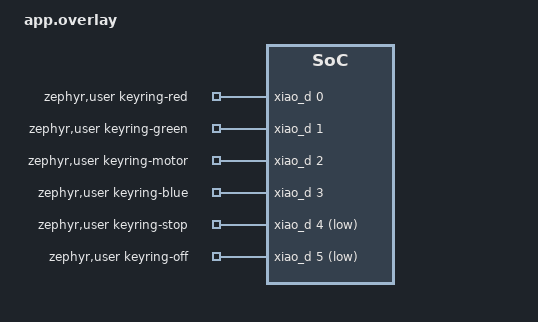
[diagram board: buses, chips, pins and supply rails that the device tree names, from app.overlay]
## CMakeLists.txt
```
cmake_minimum_required(VERSION 3.20.0)
option(KR_CARRIER_D31 "Use the SIS D3.1 Y3 pin and motor power policy" ON)
if(KR_CARRIER_D31)
  list(APPEND EXTRA_DTC_OVERLAY_FILE "${CMAKE_CURRENT_SOURCE_DIR}/boards/carrier-d31.overlay")
  set(KR_CARRIER_VERSION "d31")
else()
  set(KR_CARRIER_VERSION "revg")
endif()
find_package(Zephyr 4.2.0 REQUIRED HINTS $ENV{ZEPHYR_BASE})
project(tingle_keyring C)
option(KR_DIAG_INTERACTIVE_BOOT "Pause boot stages for USB hardware diagnostics" OFF)
option(KR_STORAGE_INSPECT_ONLY "Read flash metadata without mounting or writing NVS" OFF)
target_include_directories(app PRIVATE include vendor/monocypher)
target_sources(app PRIVATE
  src/main.c src/codec.c src/engine.c src/phone.c src/storage.c
  src/nus.c src/board.c src/proof.c src/settings_auth.c src/settings_storage.c
  src/hash.c src/json.c src/request.c src/frame.c src/reset.c src/profile.c
  src/matching.c src/peer.c src/peer_auth.c src/policy.c src/product.c src/battery.c src/service.c
  src/carrier.c src/feedback.c src/power.c src/flash_guard.c src/record_restore.c src/diagnostics.c
  vendor/monocypher/monocypher.c vendor/monocypher/monocypher-ed25519.c)
file(STRINGS "${CMAKE_CURRENT_SOURCE_DIR}/config/dev-settings-public-key.hex" default_dev_key LIMIT_COUNT 1)
set(KR_DEV_SETTINGS_PUBLIC_KEY "${default_dev_key}" CACHE STRING "Pinned development Ed25519 public key (raw hex)")
# 서버 서명 공개키(64자리 소문자 hex)는 필수다. 비어 있거나 형식이 다르면 구성 단계에서 실패한다.
string(LENGTH "${KR_DEV_SETTINGS_PUBLIC_KEY}" key_length)
if(NOT key_length EQUAL 64 OR NOT KR_DEV_SETTINGS_PUBLIC_KEY MATCHES "^[0-9a-f]+$")
  message(FATAL_ERROR "KR_DEV_SETTINGS_PUBLIC_KEY must be 64 lowercase hex characters")
endif()
string(SUBSTRING "${KR_DEV_SETTINGS_PUBLIC_KEY}" 0 16 key_prefix)
target_compile_definitions(app PRIVATE
  KR_FIRMWARE_VERSION="0.9.14-${KR_CARRIER_VERSION}"
  KR_DEV_SERVER_KEY_HEX="${KR_DEV_SETTINGS_PUBLIC_KEY}"
  KR_DEV_SERVER_KEY_ID="dev-ed25519-${key_prefix}")
target_compile_options(app PRIVATE -Wall -Wextra -Werror -fstack-usage)
if(KR_DIAG_INTERACTIVE_BOOT)
  target_compile_definitions(app PRIVATE KR_DIAG_INTERACTIVE_BOOT=1)
endif()
if(KR_STORAGE_INSPECT_ONLY)
  target_sources(app PRIVATE src/storage_inspect.c)
  target_compile_definitions(app PRIVATE KR_STORAGE_INSPECT_ONLY=1)
endif()
```

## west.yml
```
manifest:
  remotes:
    - name: zephyrproject
      url-base: https://github.com/zephyrproject-rtos
  projects:
    - name: zephyr
      remote: zephyrproject
      revision: v4.2.0
      import:
        name-allowlist:
          - cmsis
          - cmsis_6
          - hal_nordic
          - segger
          - tinycrypt
          - mbedtls
  self:
    path: iot
```

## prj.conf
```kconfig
CONFIG_BT=y
CONFIG_BT_PERIPHERAL=y
CONFIG_BT_OBSERVER=y
CONFIG_BT_BROADCASTER=y
CONFIG_BT_DEVICE_NAME="Tingle-Keyring"
CONFIG_BT_MAX_CONN=1
CONFIG_BT_SMP=y
CONFIG_BT_SETTINGS=y
CONFIG_BT_MAX_PAIRED=4
CONFIG_SETTINGS=y
CONFIG_BT_EXT_ADV=y
CONFIG_BT_EXT_ADV_MAX_ADV_SET=2
CONFIG_BT_CTLR_ADVANCED_FEATURES=y
CONFIG_BT_CTLR_ADV_DATA_CHAIN=y
CONFIG_BT_CTLR_ADV_DATA_LEN_MAX=1650
CONFIG_BT_CTLR_ADV_DATA_BUF_MAX=4
CONFIG_BT_EXT_SCAN_BUF_SIZE=1650
CONFIG_BT_CTLR_SCAN_DATA_LEN_MAX=1650
CONFIG_BT_BUF_EVT_RX_COUNT=16
CONFIG_BT_CTLR_RX_BUFFERS=9
CONFIG_BT_CTLR_SCAN_AUX_SET=3
CONFIG_BT_RX_STACK_SIZE=4096
# ECC key generation calls CTR-DRBG initialization on the Bluetooth long workqueue.
# The default 1400-byte stack cannot hold its nested seed/derivation buffers.
CONFIG_BT_LONG_WQ_STACK_SIZE=4096
CONFIG_SYSTEM_WORKQUEUE_STACK_SIZE=4096
CONFIG_MAIN_STACK_SIZE=12288
CONFIG_HEAP_MEM_POOL_SIZE=8192
# PSA/Mbed TLS uses libc calloc, separate from the kernel heap above.
CONFIG_COMMON_LIBC_MALLOC_ARENA_SIZE=16384
CONFIG_FLASH=y
CONFIG_FLASH_MAP=y
CONFIG_FLASH_PAGE_LAYOUT=y
# NVS uses 4 KiB erase sectors; the QSPI driver's default layout is 64 KiB.
CONFIG_NORDIC_QSPI_NOR_FLASH_LAYOUT_PAGE_SIZE=4096
CONFIG_NVS=y
CONFIG_NVS_DATA_CRC=y
CONFIG_SETTINGS_NVS=y
CONFIG_HWINFO=y
CONFIG_ENTROPY_GENERATOR=y
CONFIG_CTR_DRBG_CSPRNG_GENERATOR=y
CONFIG_MBEDTLS_SHA256=y
CONFIG_GPIO=y
CONFIG_POWEROFF=y
CONFIG_REBOOT=y
CONFIG_PM_DEVICE=y
CONFIG_ADC=y
CONFIG_SERIAL=y
CONFIG_CONSOLE=y
CONFIG_UART_CONSOLE=y
CONFIG_UART_LINE_CTRL=y
CONFIG_USB_DEVICE_STACK=y
CONFIG_USB_DEVICE_INITIALIZE_AT_BOOT=y
CONFIG_USB_DEVICE_PRODUCT="Tingle Unified Keyring"
CONFIG_LOG=y
CONFIG_LOG_DEFAULT_LEVEL=3
CONFIG_ASSERT=y
```

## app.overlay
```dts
#include <zephyr/dt-bindings/gpio/gpio.h>

/ {
	zephyr,user {
		/* Shared GPIOs: common-cathode RGB, motor input and SW2 to GND. */
		keyring-red-gpios = <&xiao_d 0 GPIO_ACTIVE_HIGH>;
		keyring-green-gpios = <&xiao_d 1 GPIO_ACTIVE_HIGH>;
		keyring-motor-gpios = <&xiao_d 2 GPIO_ACTIVE_HIGH>;
		keyring-blue-gpios = <&xiao_d 3 GPIO_ACTIVE_HIGH>;
		keyring-stop-gpios = <&xiao_d 4 (GPIO_ACTIVE_LOW | GPIO_PULL_UP)>;
		/* Rev G only: SW1 shorts D5 to ground in OFF. R13 supplies the pull-up. */
		keyring-off-gpios = <&xiao_d 5 GPIO_ACTIVE_LOW>;
	};
};

/* Keep the stock UF2 bootloader/code/internal settings partitions unchanged. */
&p25q16h {
	/* Bring up USB diagnostics before probing the external flash chip. */
	zephyr,deferred-init;
	partitions {
		compatible = "fixed-partitions";
		#address-cells = <1>;
		#size-cells = <1>;
		keyring_store: partition@0 {
			label = "keyring-store";
			reg = <0x00000000 0x00040000>;
		};
		/* Same offsets as the installed registration build. */
		registration_store: partition@40000 {
			label = "registration-store";
			reg = <0x00040000 0x00020000>;
		};
	};
};
```

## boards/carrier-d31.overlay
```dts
&{/zephyr,user} {
	/* Y3 SW1 switches BAT_SW. The board does not connect SW1 to D5. */
	/delete-property/ keyring-off-gpios;
};
```

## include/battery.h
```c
#ifndef TINGLE_BATTERY_H
#define TINGLE_BATTERY_H
#include "registration.h"
struct kr_battery_reading { int percent; const char *source, *presence, *power; };
struct kr_battery_reading kr_battery_reading(struct kr_status status);

enum kr_charge_level { KR_CHARGE_OFF, KR_CHARGE_LOW, KR_CHARGE_MID, KR_CHARGE_HIGH };
uint8_t kr_charge_indicator_rgb(enum kr_charge_level level);
uint8_t kr_status_led_rgb(enum kr_charge_level level, bool usb, bool error, bool diagnostic);
struct kr_charge_indicator {
	enum kr_charge_level level, candidate;
	unsigned samples;
};
enum kr_charge_level kr_charge_indicator_update(struct kr_charge_indicator *, struct kr_status);
#endif
```

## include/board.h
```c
#ifndef TINGLE_REGISTRATION_BOARD_H
#define TINGLE_REGISTRATION_BOARD_H
#include "registration.h"
#include "battery.h"
#include <zephyr/bluetooth/addr.h>
int kr_board_open(struct kr_core *core);
int kr_board_forget_phone_bond(const bt_addr_le_t *address);
int kr_board_charge_init(void);
int kr_board_power_init(void);
void kr_board_cancel_charge_notice(void);
void kr_board_start_charge_notice(void);
bool kr_board_usb_present(void);
struct kr_status kr_board_status(void);
void kr_board_led(bool active);
int kr_board_led_ready(bool error);
void kr_board_led_error(bool error);
void kr_board_charge_led(enum kr_charge_level level, bool usb);
void kr_board_led_off(void);
void kr_board_print_identity(const struct kr_identity *identity);
int kr_board_storage_check(void);
#endif
```

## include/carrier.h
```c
#ifndef TINGLE_CARRIER_H
#define TINGLE_CARRIER_H

#include "feedback.h"

int kr_carrier_init(void);
bool kr_carrier_off_requested(void);
void kr_carrier_enter_off(void);
void kr_carrier_shutdown(void);
bool kr_carrier_poll_charge(void);
bool kr_carrier_feedback_start(struct kr_feedback_options options);
void kr_carrier_feedback_stop(void);

#endif
```

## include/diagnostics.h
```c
#ifndef TINGLE_DIAGNOSTICS_H
#define TINGLE_DIAGNOSTICS_H
#include "keyring.h"
#include "peer.h"

/* Volatile, public metadata only. Never written to NVS or sent over BLE. */
#define KR_DIAG_LINE_BYTES 640
enum kr_diag_command { KR_DIAG_NONE, KR_DIAG_STATUS, KR_DIAG_RECORDS, KR_DIAG_INVALID };
enum kr_diag_effect { KR_DIAG_UNKNOWN_PEER, KR_DIAG_SAME_SCOPE, KR_DIAG_INPUT_CHANGED,
	KR_DIAG_OWNER_CHANGED, KR_DIAG_RETIRED, KR_DIAG_DUPLICATE_REF, KR_DIAG_QUARANTINED,
	KR_DIAG_UNKNOWN_SCOPE, KR_DIAG_ERROR_KEY };
enum kr_diag_gate {
	KR_DIAG_NO_OWNER = 1u << 0, KR_DIAG_RESET = 1u << 1, KR_DIAG_STORAGE = 1u << 2,
	KR_DIAG_RECOVERY = 1u << 3, KR_DIAG_NO_POLICY = 1u << 4, KR_DIAG_NOT_APPLIED = 1u << 5,
	KR_DIAG_NO_TIME = 1u << 6, KR_DIAG_INCOMPLETE = 1u << 7, KR_DIAG_DISABLED = 1u << 8,
	KR_DIAG_OFF = 1u << 9, KR_DIAG_EXPIRED = 1u << 10, KR_DIAG_PEER_INACTIVE = 1u << 11,
	KR_DIAG_PEER_UNREADY = 1u << 12, KR_DIAG_QUARANTINE = 1u << 13,
	KR_DIAG_ACCOUNT_LOCK = 1u << 14, KR_DIAG_ENGINE_UNREADY = 1u << 15,
};
struct kr_diag_row {
	uint64_t peer, epoch;
	uint32_t own_revision, peer_revision;
	uint8_t slot, kind, phase, reason, effect, flags;
};
#define KR_DIAG_LEDGER 1u
#define KR_DIAG_SCOPE_KNOWN 2u
#define KR_DIAG_ACCOUNT_KNOWN 4u
#define KR_DIAG_FEEDBACK_CLAIMED 8u
struct kr_diag_inputs {
	uint32_t sequence;
	/* Recomputed from frozen inputs, never presented as a new match. -1 = unavailable. */
	int16_t eligibility, score_ab, score_ba, coverage_ab, coverage_ba;
	uint8_t strict_ab, strict_ba, unresolved_ab, unresolved_ba;
};
struct kr_diag_peer {
	uint64_t peer, epoch, last_seen, valid_until;
	uint32_t revision;
	bool authenticated, recent, policy_ready, allowed;
};
struct kr_diag_snapshot {
	char serial[65];
	int64_t device_id, epoch, stored_version, applied_version, uptime_ms;
	uint64_t now, filter;
	uint32_t gates, quarantined, authenticated, exchanged, rejected, overflow;
	unsigned candidates, confirmed, review, suppressions, missing_accounts, row_count, peer_count;
	bool available, records, applied, time_ready, ready, can_insert;
	bool scan_enabled, exchange_enabled, lab_enabled;
	struct kr_diag_row rows[KR_RECORDS + KR_SUPPRESSIONS];
	struct kr_diag_inputs inputs[KR_RECORDS];
	struct kr_diag_peer peers[KR_PEERS];
};
_Static_assert(sizeof(struct kr_diag_snapshot) <= 4608, "USB diagnostics must not consume the live matching buffers");
struct kr_product;
/* Caller holds core_lock followed by owner_data_lock. Capture has no write callbacks. */
void kr_product_diag_capture(const struct kr_product *, bool records, uint64_t filter, struct kr_diag_snapshot *);
/* A peer filter is an ENROLL XIAO serial, not an environment-specific DB ID. */
enum kr_diag_command kr_diag_parse(const char *, uint64_t *filter);
bool kr_diag_format(const struct kr_diag_snapshot *, unsigned line, char out[KR_DIAG_LINE_BYTES]);
#endif
```

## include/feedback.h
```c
#ifndef TINGLE_FEEDBACK_H
#define TINGLE_FEEDBACK_H

#include <stdbool.h>
#include <stdint.h>

#define KR_FEEDBACK_LED_MS 30000
#define KR_FEEDBACK_PULSE_MS 350
#define KR_FEEDBACK_GAP_MS 150
#define KR_FEEDBACK_CYCLE_MS 1250
#define KR_FEEDBACK_VIBRATION_MS 10000

struct kr_profile;
struct kr_status;

struct kr_feedback_options {
	uint8_t rgb;
	bool vibrate;
};

struct kr_feedback {
	int64_t started_ms;
	struct kr_feedback_options options;
};

struct kr_feedback_output {
	uint8_t rgb;
	bool motor;
	uint32_t wake_ms;
};

struct kr_feedback_options kr_feedback_options(const uint8_t id[16],
	const struct kr_profile *own, const struct kr_profile *peer);
bool kr_feedback_motor_can_start(const struct kr_status *power, bool usb_motor_supply);
bool kr_feedback_start(struct kr_feedback *state, int64_t now, struct kr_feedback_options options);
void kr_feedback_stop(struct kr_feedback *state);
struct kr_feedback_output kr_feedback_step(struct kr_feedback *state, int64_t now, bool motor_power);

#endif
```

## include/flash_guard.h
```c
#ifndef TINGLE_FLASH_GUARD_H
#define TINGLE_FLASH_GUARD_H
#include <stddef.h>
#include <stdint.h>
struct kr_flash_io {
	void *ctx;
	int (*write)(void *, uint32_t, const void *, size_t);
	int (*read)(void *, uint32_t, void *, size_t);
};
/* The caller owns allocation/erase. This never erases or repairs old data. */
int kr_flash_write_verified(const struct kr_flash_io *, uint32_t address,
	const void *data, size_t length, uint32_t *failed_address);
#ifndef KR_HOST
struct device;
const struct device *kr_flash_guard_device(void);
#endif
#endif
```

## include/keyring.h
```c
#ifndef TINGLE_KEYRING_H
#define TINGLE_KEYRING_H

#include <stdbool.h>
#include <stddef.h>
#include <stdint.h>

/* Test protocol, not the approved production proof/payload contract. */
#define KR_VERSION 1
#define KR_DATA_MAX 1024
#define KR_WIRE_MAX 1200
#define KR_RECORDS 32
#define KR_SUPPRESSIONS 64
#define KR_MATCH_LIMIT 8
#define KR_CONFIRMED_LIMIT 12
#define KR_REVIEW_LIMIT 12
#define KR_PROFILE_BYTES (34 + KR_DATA_MAX)
#define KR_BINARY_FRAME_MAX 2500

enum kr_kind { KR_EMPTY, KR_MATCH, KR_CONFIRMED, KR_REVIEW };
enum kr_phase { KR_NEW, KR_WAIT, KR_OFFER, KR_PREPARED, KR_COMMIT,
	KR_DONE, KR_FINAL, KR_COMPLETE };
enum kr_reason { KR_REASON_NONE, KR_BAD_DATA, KR_ALGORITHM_ERROR,
	KR_ALGORITHM_REJECT, KR_VERSION_MISMATCH, KR_SETTINGS_CHANGED,
	KR_RADIO_OVERFLOW, KR_ACCOUNT_DUPLICATE, KR_PEER_OWNERSHIP_CHANGED, KR_PEER_SETTINGS_CHANGED };
enum kr_result { KR_OK, KR_INVALID, KR_UNAUTHORIZED, KR_STALE,
	KR_FULL, KR_STORAGE, KR_NOT_READY, KR_NOT_FOUND, KR_CONFLICT };
enum kr_decision { KR_ACCEPT, KR_REJECT, KR_CALC_ERROR };

struct kr_profile {
	uint32_t revision;
	uint32_t policy;
	uint32_t rule;
	uint32_t opportunity_sec;
	uint8_t snapshot[16];
	uint16_t data_len;
	uint8_t data[KR_DATA_MAX];
};

struct kr_config {
	uint32_t format;
	uint64_t device;
	uint8_t owner[16];
	uint8_t token[16];
	uint8_t registered;
	struct kr_profile profile;
};

struct kr_record {
	uint32_t format;
	uint32_t sequence;
	uint64_t peer;
	uint64_t occurred_at;
	uint64_t expires_at;
	uint8_t id[16];
	uint8_t kind;
	uint8_t phase;
	uint8_t reason;
	uint8_t feedback_claimed;
	struct kr_profile own;
	uint16_t peer_len;
	uint8_t peer_wire[KR_WIRE_MAX];
};

struct kr_suppression {
	uint64_t peer;
	uint8_t id[16];
	uint64_t occurred_at;
	uint64_t expires_at;
	uint32_t own_revision;
	uint32_t peer_revision;
	uint8_t phase;
};

struct kr_io {
	/* Return zero only after durable storage. An EMPTY slot is a deletion. */
	int (*config)(void *, const struct kr_config *);
	int (*record)(void *, unsigned, const struct kr_record *);
	int (*suppression)(void *, unsigned, const struct kr_suppression *);
	/* Reserve the next unused number durably BEFORE publishing a new row. */
	int (*sequence)(void *, uint32_t);
	/* Match a frozen record/suppression to the authenticated remote owner. */
	bool (*same_peer)(void *, unsigned, uint64_t);
	bool (*candidate_ready)(void *, unsigned);
	uint64_t (*error_key)(void *, uint64_t, const uint8_t *, size_t);
	void (*random)(void *, uint8_t *, size_t);
	void (*feedback)(void *, const struct kr_record *, const struct kr_profile *peer);
	enum kr_decision (*calculate)(void *, const struct kr_profile *,
		const struct kr_profile *);
	bool synthetic_only;
	void *ctx;
};

struct kr_engine {
	struct kr_config config;
	struct kr_record records[KR_RECORDS];
	struct kr_suppression suppressed[KR_SUPPRESSIONS];
	struct kr_io io;
	uint32_t next_sequence;
	uint8_t cursor_epoch[16];
	uint32_t overflow;
	/* RAM-only isolation; the original NVS items remain untouched. */
	uint32_t quarantined_records;
	uint32_t final_retry_records;
	uint64_t final_retry_suppressions;
	bool ready;
	bool storage_error;
};

uint16_t kr_get16(const uint8_t *p);
uint32_t kr_get32(const uint8_t *p);
uint64_t kr_get64(const uint8_t *p);
void kr_put16(uint8_t *p, uint16_t n);
void kr_put32(uint8_t *p, uint32_t n);
void kr_put64(uint8_t *p, uint64_t n);
uint32_t kr_crc32(const uint8_t *data, size_t len);
size_t kr_profile_encode(const struct kr_profile *p, uint8_t *out);
bool kr_profile_decode(struct kr_profile *p, const uint8_t *in, size_t len);
size_t kr_packet(uint8_t type, const uint8_t *body, size_t len, uint8_t *out);
bool kr_packet_valid(const uint8_t *in, size_t len);
size_t kr_record_encode(const struct kr_record *r, uint8_t *out);

void kr_init(struct kr_engine *e, uint64_t device, struct kr_io io);
bool kr_restored_valid(struct kr_engine *e);
bool kr_record_valid(const struct kr_record *r);
bool kr_quarantined(const struct kr_engine *e, unsigned slot);
unsigned kr_quarantine_count(const struct kr_engine *e);
enum kr_result kr_register(struct kr_engine *e, const uint8_t owner[16],
	const uint8_t token[16]);
bool kr_auth(const struct kr_engine *e, const uint8_t token[16]);
enum kr_result kr_sync(struct kr_engine *e, const struct kr_profile *p);
enum kr_result kr_receive(struct kr_engine *e, const uint8_t *wire,
	size_t len, uint64_t source, uint64_t now);
enum kr_result kr_radio_error(struct kr_engine *e, uint64_t source,
	const uint8_t *raw, size_t len, enum kr_reason reason, uint64_t now);
/* Run every runnable job immediately; radio-dependent phases never block others. */
void kr_drain(struct kr_engine *e);
enum kr_result kr_abandon_candidate(struct kr_engine *, unsigned, enum kr_reason);
bool kr_retired_reason(unsigned);
void kr_expire_candidates(struct kr_engine *e, uint64_t now);
size_t kr_advertisement(struct kr_engine *e, unsigned *cursor, uint8_t *out,
	int *sent_slot);
void kr_sent(struct kr_engine *e, int slot);
bool kr_sent_guarded(struct kr_engine *, int, uint32_t, const uint8_t[16]);
enum kr_result kr_ack(struct kr_engine *e, const uint8_t id[16]);
enum kr_result kr_release(struct kr_engine *e, const uint8_t id[16]);
unsigned kr_count(const struct kr_engine *e, enum kr_kind kind);
unsigned kr_pending(const struct kr_engine *);
bool kr_can_insert(const struct kr_engine *, enum kr_kind);
enum kr_decision kr_always_match(void *ctx, const struct kr_profile *a,
	const struct kr_profile *b);

#endif
```

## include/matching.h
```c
#ifndef TINGLE_MATCHING_H
#define TINGLE_MATCHING_H

#include "profile.h"

/* Development port of the pinned engine100 reference, not a production release ID. */
#define KR_MATCH_POLICY UINT32_C(0x52504331)
#define KR_MATCH_RULE UINT32_C(0x10001101)
struct kr_direction_score {
	double score, coverage;
	unsigned informative, observed, excluded, unresolved;
	bool has_score;
};
struct kr_pair_score {
	struct kr_direction_score ab, ba;
	double harmonic;
	bool has_harmonic, calculated, match;
};
bool kr_match_score(const uint8_t *a, size_t an, const uint8_t *b, size_t bn,
	struct kr_pair_score *out);
/* 1 eligible, 0 excluded, -1 missing evidence. Separate from the PC score. */
int kr_match_eligibility(const uint8_t *a, size_t an, const uint8_t *b, size_t bn);

#endif
```

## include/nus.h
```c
#ifndef TINGLE_REGISTRATION_NUS_H
#define TINGLE_REGISTRATION_NUS_H

#include "registration.h"
#include <stdbool.h>
#include <zephyr/bluetooth/uuid.h>

#define KR_NUS_UUID(value) BT_UUID_128_ENCODE(value, 0xb5a3, 0xf393, 0xe0a9, 0xe50e24dcca9e)

struct k_sem;
struct kr_engine;
struct kr_record;
struct kr_diag_snapshot;
bool kr_nus_diag_snapshot(bool records, uint64_t filter, struct kr_diag_snapshot *);
int kr_nus_init(struct k_sem *peer_wake);
bool kr_nus_take_peer_plan(struct kr_peer_plan *out);
void kr_nus_start_window(void);
bool kr_nus_can_advertise(void);
size_t kr_nus_copy_public_name(char name[KR_PUBLIC_NAME_MAX + 1]);
void kr_nus_poll_console(bool blink);
int kr_nus_forget_failed_bond(uint32_t token);
bool kr_nus_reset_pending(void);
bool kr_nus_storage_fault(void);
bool kr_nus_lab_allowed(void);
const char *kr_nus_finish_reset(void);
/* Main engine mutations and reset policy checks share this lock. */
void kr_runtime_owner_lock(void);
void kr_runtime_owner_unlock(void);
int kr_runtime_pending_records(void);
void kr_runtime_reset_block(void);
void kr_runtime_pause_matching(void);
uint32_t kr_runtime_generation(void);
void kr_runtime_stop_feedback(void);
void kr_runtime_refresh_phone(void);
void kr_nus_attach_application(struct kr_engine *engine);
int kr_nus_apply_application(const struct kr_peer_plan *plan, struct kr_peer_runtime *peers);
void kr_nus_application_result(const struct kr_peer_plan *plan, int error);
void kr_nus_quiesce(void);
void kr_nus_bind_application(struct kr_peer_runtime *peers);
void kr_nus_clear_application(void);
int kr_nus_write_record(unsigned slot, const struct kr_record *record);
void kr_nus_application_tick(void);
uint64_t kr_nus_application_time(void);
unsigned kr_nus_feedback_presence_seconds(void);
int kr_runtime_clear_owner_data(void);

#endif
```

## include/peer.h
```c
#ifndef TINGLE_PEER_H
#define TINGLE_PEER_H

#include "profile.h"

#define KR_PEERS 16
#define KR_PEER_CERT_BYTES 325
#define KR_PEER_WIRE_MAX 512
#define KR_PEER_HEADER 78
#define KR_PEER_IDLE_SECONDS 30 /* Session cache only, never a durable queue TTL. */
struct kr_peer_material {
	uint8_t secret[32], public_key[32], certificate[KR_PEER_CERT_BYTES];
	uint8_t payload[KR_PROFILE_STORAGE_BYTES], owner[16], owner_ref[16];
	uint32_t revision;
	uint32_t opportunity_seconds;
	uint64_t device;
	bool valid, policy_ready;
};
struct kr_peer_verified {
	uint64_t device;
	uint32_t revision;
	uint32_t opportunity_seconds;
	uint8_t hash[32], owner[16], owner_ref[16];
	uint64_t valid_until;
	uint64_t ownership_epoch;
	uint8_t scope[16];
	bool policy_ready;
};
struct kr_peer_session {
	uint8_t public_key[32], tx_key[32], rx_key[32], certificate_hash[32];
	struct kr_peer_verified remote;
	uint64_t received, last_seen;
	bool used, authenticated, data_next, profile_next;
};
struct kr_peer_runtime {
	struct kr_peer_material own;
	struct kr_peer_session sessions[KR_PEERS];
	uint8_t server_key[32];
	uint64_t sequence;
	unsigned cursor, control_cursor;
	uint32_t rejected, overflow, authenticated, exchanged;
	uint64_t now, evidence_peer;
	const struct kr_peer_verified *input_peer;
	void *application;
	bool (*allowed)(void *, const struct kr_peer_verified *, uint64_t);
	bool (*admit)(void *, const struct kr_peer_verified *);
	int (*cache_certificate)(void *, unsigned, const uint8_t *, const uint8_t *);
	bool active;
};
struct kr_identity; struct kr_settings; struct kr_settings_auth; struct kr_engine;
bool kr_peer_material_make(struct kr_peer_material *out, const struct kr_identity *id,
	const struct kr_settings *settings, const struct kr_settings_auth *auth, const uint8_t seed[32]);
bool kr_peer_certificate(const uint8_t cert[KR_PEER_CERT_BYTES], const uint8_t ephemeral[32],
	const uint8_t server_key[32], uint64_t now, struct kr_peer_verified *out);
void kr_peer_scope(const uint8_t cert[KR_PEER_CERT_BYTES], uint64_t *, uint8_t scope[16]);
bool kr_peer_grant(const uint8_t grant[261], const uint8_t server_key[32], uint64_t now);
bool kr_peer_grant_matches(const struct kr_identity *, const struct kr_settings *, const struct kr_settings_auth *, const uint8_t grant[261]);
/* Runtime must initially be zeroed. Stop wipes keys, preserving a public nonce counter. */
void kr_peer_stop(struct kr_peer_runtime *p);
int kr_peer_start(struct kr_peer_runtime *p, const struct kr_peer_material *own,
	const uint8_t server_key[32], struct kr_engine *engine);
/* Only authenticated AEAD content reaches the shared three-queue engine. */
bool kr_peer_receive(struct kr_peer_runtime *p, struct kr_engine *engine,
	const uint8_t *wire, size_t len, uint64_t now);
size_t kr_peer_advertisement(struct kr_peer_runtime *p, struct kr_engine *engine,
	uint8_t out[KR_PEER_WIRE_MAX], int *sent_slot);

#endif
```

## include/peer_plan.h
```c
#ifndef TINGLE_PEER_PLAN_H
#define TINGLE_PEER_PLAN_H

#include <stdint.h>
#include "peer.h"

#define KR_DISCOVERY_UUID_BYTES 16
#define KR_DISCOVERY_MAX_BYTES 254
#define KR_DEV_DISCOVERY_BYTES 32
#define KR_DEV_DISCOVERY_UUID BT_UUID_128_ENCODE(0x8e8c0005U, 0x67a0, 0x4d2f, 0x9c17, 0x120b4c80e106ULL)

/* Internal output of the authenticated policy decoder. Never a BLE request
 * field. Only public discovery service data belongs here. A zero length is OFF.
 * The decoder must verify the server time before providing a positive value. */
struct kr_peer_plan {
	int64_t verified_time;
	uint16_t length;
	uint8_t service_data[KR_DISCOVERY_MAX_BYTES];
	struct kr_peer_material peer;
	uint32_t generation;
	/* Zero for stop and legacy plans. A verified TSV3 submission gets its own attempt. */
	uint32_t settings_apply_attempt;
};

#endif
```

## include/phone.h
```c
#ifndef TINGLE_PHONE_H
#define TINGLE_PHONE_H
#include "keyring.h"

enum kr_command { KR_STATUS = 1, KR_REGISTER = 2, KR_SYNC = 3,
	KR_READ_RECORD = 4, KR_LAB_STORED_RECEIPT = 5, KR_LAB_RELEASE = 6 };

/* KP/v1/op/requestId(u32)/bodyLen(u16)/body/CRC32, all integers little endian. */
size_t kr_phone_frame(uint8_t op, uint32_t request, const uint8_t *body,
	size_t len, uint8_t *out);
size_t kr_phone_process(struct kr_engine *e, const uint8_t *in, size_t len,
	uint8_t *out, uint64_t *new_utc);
#endif
```
